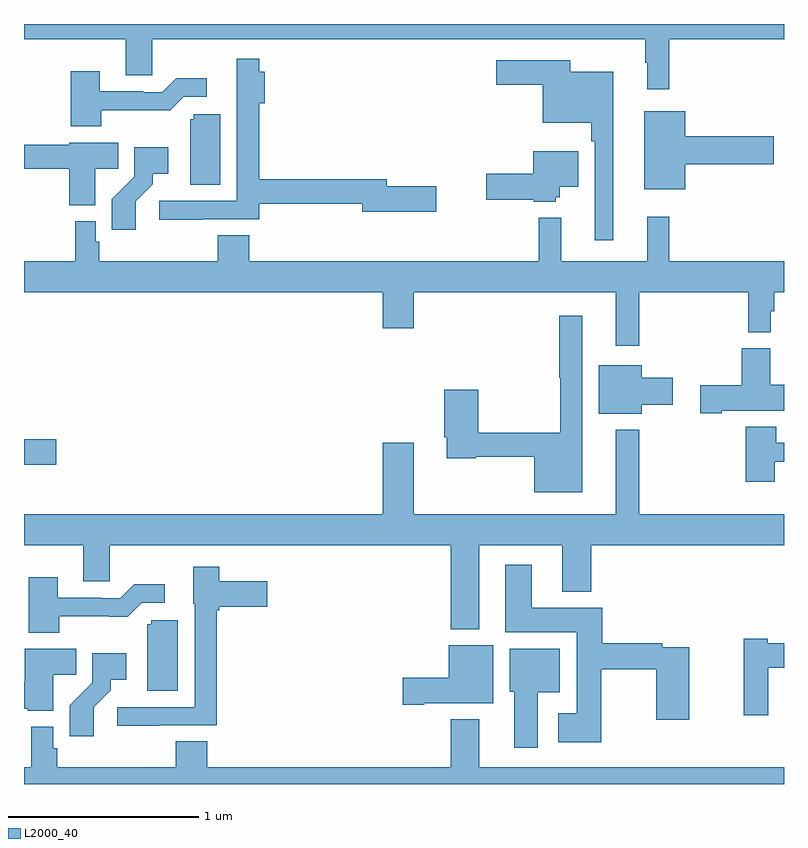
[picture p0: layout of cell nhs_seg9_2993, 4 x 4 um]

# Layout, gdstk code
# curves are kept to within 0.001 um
import gdstk
lib = gdstk.Library(unit=1e-6, precision=1e-09)
def R(c, l, rs):  # rectangles x0, y0, x1, y1
    for r in rs: c.add(gdstk.rectangle(r[:2], r[2:], *l))
def P(c, l, *ps):  # polygons
    for p in ps: c.add(gdstk.Polygon(p, *l))
L2000_40 = (2000, 40)

nhs_seg9_2993 = lib.new_cell('nhs_seg9_2993')
R(nhs_seg9_2993, L2000_40, [(283,1194.179,283.171,1194.314)])
P(nhs_seg9_2993, L2000_40, [(286.397,1196.42),(287,1196.42),(287,1196.5),(283,1196.5),(283,1196.42),(283.535,1196.42),(283.535,1196.23),(283.674,1196.23),(283.674,1196.42),(286.269,1196.42),(286.269,1196.297),(286.28,1196.297),(286.28,1196.157),(286.397,1196.157)],
  [(283.937,1195.473),(284.237,1195.473),(284.237,1195.554),(284.78,1195.554),(284.78,1195.511),(285.169,1195.511),(285.169,1195.646),(284.908,1195.646),(284.908,1195.682),(284.237,1195.682),(284.237,1196.083),(284.267,1196.083),(284.267,1196.248),(284.237,1196.248),(284.237,1196.317),(284.12,1196.317),(284.12,1196.094),(284.121,1196.094),(284.121,1195.569),(283.713,1195.569),(283.713,1195.471),(283.937,1195.471)],
  [(286.102,1196.248),(285.874,1196.248),(285.874,1196.308),(285.486,1196.308),(285.486,1196.179),(285.731,1196.179),(285.731,1195.979),(285.985,1195.979),(285.985,1195.883),(286.005,1195.883),(286.005,1195.362),(286.102,1195.362)],
  [(283.407,1196.046),(283.769,1196.045),(283.842,1196.118),(283.963,1196.118),(283.963,1196.215),(283.801,1196.215),(283.728,1196.142),(283.628,1196.142),(283.628,1196.145),(283.399,1196.145),(283.399,1196.251),(283.247,1196.251),(283.247,1195.961),(283.407,1195.961)],
  [(286.48,1195.763),(286.945,1195.763),(286.945,1195.91),(286.48,1195.91),(286.48,1196.041),(286.265,1196.041),(286.265,1195.631),(286.48,1195.631)],
  [(284.032,1196.025),(283.893,1196.025),(283.893,1195.998),(283.874,1195.998),(283.874,1195.654),(284.032,1195.654)],
  [(283.375,1195.738),(283.496,1195.738),(283.496,1195.876),(283.238,1195.876),(283.238,1195.865),(283,1195.865),(283,1195.737),(283.238,1195.737),(283.238,1195.547),(283.375,1195.547)],
  [(283.588,1195.567),(283.678,1195.657),(283.678,1195.712),(283.759,1195.712),(283.759,1195.852),(283.581,1195.852),(283.581,1195.697),(283.462,1195.578),(283.462,1195.416),(283.588,1195.416)],
  [(285.798,1195.587),(285.82,1195.587),(285.82,1195.643),(285.916,1195.643),(285.916,1195.831),(285.68,1195.831),(285.68,1195.713),(285.432,1195.713),(285.432,1195.576),(285.684,1195.576),(285.684,1195.565),(285.798,1195.565)],
  [(286.237,1195.088),(286.813,1195.088),(286.813,1194.878),(286.929,1194.878),(286.929,1194.987),(286.949,1194.987),(286.949,1195.088),(287,1195.088),(287,1195.252),(286.397,1195.252),(286.397,1195.486),(286.28,1195.486),(286.28,1195.252),(285.827,1195.252),(285.827,1195.48),(285.709,1195.48),(285.709,1195.252),(284.186,1195.252),(284.186,1195.388),(284.021,1195.388),(284.021,1195.252),(283.397,1195.252),(283.397,1195.353),(283.377,1195.353),(283.377,1195.462),(283.269,1195.462),(283.269,1195.252),(283,1195.252),(283,1195.088),(284.888,1195.088),(284.888,1194.9),(285.052,1194.9),(285.052,1195.088),(286.115,1195.088),(286.115,1194.807),(286.237,1194.807)],
  [(285.937,1194.964),(285.816,1194.964),(285.816,1194.639),(285.823,1194.639),(285.823,1194.35),(285.39,1194.35),(285.39,1194.574),(285.212,1194.574),(285.212,1194.325),(285.224,1194.325),(285.224,1194.214),(285.378,1194.214),(285.378,1194.222),(285.686,1194.222),(285.686,1194.035),(285.937,1194.035)],
  [(286.672,1194.464),(287,1194.464),(287,1194.602),(286.927,1194.602),(286.927,1194.793),(286.778,1194.793),(286.778,1194.599),(286.56,1194.599),(286.56,1194.452),(286.672,1194.452)],
  [(286.252,1194.497),(286.414,1194.497),(286.414,1194.639),(286.252,1194.639),(286.252,1194.703),(286.025,1194.703),(286.025,1194.449),(286.252,1194.449)],
  [(286.951,1194.195),(287,1194.195),(287,1194.295),(286.959,1194.295),(286.959,1194.379),(286.799,1194.379),(286.799,1194.09),(286.951,1194.09)],
  [(285.397,1193.756),(285.833,1193.756),(285.833,1193.513),(285.986,1193.513),(285.986,1193.756),(287,1193.756),(287,1193.92),(286.237,1193.92),(286.237,1194.364),(286.115,1194.364),(286.115,1193.92),(285.052,1193.92),(285.052,1194.295),(284.888,1194.295),(284.888,1193.92),(283,1193.92),(283,1193.756),(283.313,1193.756),(283.313,1193.566),(283.452,1193.566),(283.452,1193.756),(285.245,1193.756),(285.245,1193.315),(285.397,1193.315)],
  [(286.038,1193.104),(286.327,1193.104),(286.327,1192.839),(286.5,1192.839),(286.5,1193.22),(286.358,1193.22),(286.358,1193.24),(286.043,1193.24),(286.043,1193.428),(285.673,1193.428),(285.673,1193.653),(285.533,1193.653),(285.533,1193.3),(285.908,1193.3),(285.908,1192.873),(285.813,1192.873),(285.813,1192.721),(286.038,1192.721)],
  [(283.715,1192.809),(284.015,1192.809),(284.015,1193.414),(284.028,1193.414),(284.028,1193.432),(284.281,1193.432),(284.281,1193.566),(284.028,1193.566),(284.028,1193.644),(283.892,1193.644),(283.892,1193.448),(283.899,1193.448),(283.899,1192.905),(283.491,1192.905),(283.491,1192.807),(283.715,1192.807)],
  [(283.185,1193.382),(283.547,1193.381),(283.62,1193.454),(283.741,1193.454),(283.741,1193.551),(283.579,1193.551),(283.506,1193.478),(283.406,1193.478),(283.406,1193.481),(283.177,1193.481),(283.177,1193.587),(283.025,1193.587),(283.025,1193.297),(283.185,1193.297)],
  [(283.81,1193.361),(283.671,1193.361),(283.671,1193.34),(283.649,1193.34),(283.649,1192.992),(283.81,1192.992)],
  [(286.918,1193.111),(287,1193.111),(287,1193.241),(286.914,1193.241),(286.914,1193.264),(286.789,1193.264),(286.789,1192.863),(286.918,1192.863)],
  [(285.106,1192.925),(285.469,1192.925),(285.469,1193.23),(285.236,1193.23),(285.236,1193.06),(284.994,1193.06),(284.994,1192.918),(285.106,1192.918)],
  [(285.703,1192.982),(285.82,1192.982),(285.82,1193.212),(285.557,1193.212),(285.557,1192.986),(285.581,1192.986),(285.581,1192.692),(285.703,1192.692)],
  [(283.153,1193.074),(283.274,1193.074),(283.274,1193.212),(283.004,1193.212),(283.004,1193.039),(283,1193.039),(283,1192.897),(283.02,1192.897),(283.02,1192.886),(283.153,1192.886)],
  [(283.366,1192.903),(283.456,1192.993),(283.456,1193.048),(283.537,1193.048),(283.537,1193.188),(283.359,1193.188),(283.359,1193.033),(283.24,1192.914),(283.24,1192.752),(283.366,1192.752)],
  [(287,1192.588),(285.397,1192.588),(285.397,1192.84),(285.245,1192.84),(285.245,1192.588),(283.964,1192.588),(283.964,1192.724),(283.799,1192.724),(283.799,1192.588),(283.175,1192.588),(283.175,1192.689),(283.155,1192.689),(283.155,1192.801),(283.039,1192.801),(283.039,1192.588),(283,1192.588),(283,1192.5),(287,1192.5)])

lib.write_gds('nhs_seg9_2993.gds')
